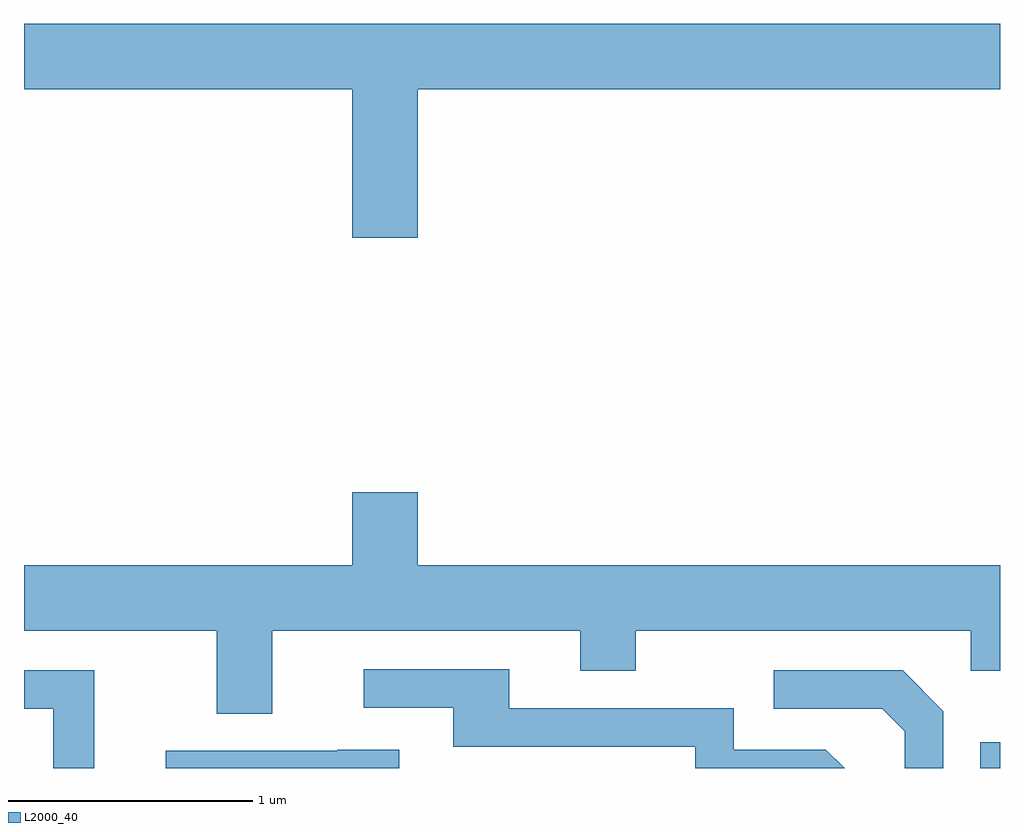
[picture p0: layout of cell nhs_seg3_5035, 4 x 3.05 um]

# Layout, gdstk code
import gdstk
lib = gdstk.Library(unit=1e-6, precision=1e-09)
def R(c, l, rs):  # rectangles x0, y0, x1, y1
    for r in rs: c.add(gdstk.rectangle(r[:2], r[2:], *l))
def P(c, l, *ps):  # polygons
    for p in ps: c.add(gdstk.Polygon(p, *l))
L2000_40 = (2000, 40)

nhs_seg3_5035 = lib.new_cell('nhs_seg3_5035')
R(nhs_seg3_5035, L2000_40, [(337.531,1129.892,337.611,1129.999)])
P(nhs_seg3_5035, L2000_40, [(335.224,1132.676),(337.611,1132.676),(337.611,1132.944),(333.611,1132.944),(333.611,1132.676),(334.956,1132.676),(334.956,1132.066),(335.224,1132.066)],
  [(334.629,1130.456),(335.891,1130.456),(335.891,1130.291),(336.119,1130.291),(336.119,1130.456),(337.491,1130.456),(337.491,1130.291),(337.611,1130.291),(337.611,1130.724),(335.224,1130.724),(335.224,1131.024),(334.956,1131.024),(334.956,1130.724),(333.611,1130.724),(333.611,1130.456),(334.401,1130.456),(334.401,1130.116),(334.629,1130.116)],
  [(336.897,1129.969),(336.519,1129.969),(336.519,1130.139),(335.599,1130.139),(335.599,1130.299),(335.003,1130.299),(335.003,1130.141),(335.371,1130.141),(335.371,1129.981),(336.361,1129.981),(336.361,1129.892),(336.974,1129.892)],
  [(333.899,1130.294),(333.611,1130.294),(333.611,1130.136),(333.731,1130.136),(333.731,1129.892),(333.899,1129.892)],
  [(337.379,1130.127),(337.212,1130.294),(336.683,1130.294),(336.683,1130.136),(337.129,1130.136),(337.221,1130.044),(337.221,1129.892),(337.379,1129.892)],
  [(335.149,1129.969),(334.895,1129.969),(334.895,1129.964),(334.191,1129.964),(334.191,1129.892),(335.149,1129.892)])

lib.write_gds('nhs_seg3_5035.gds')
